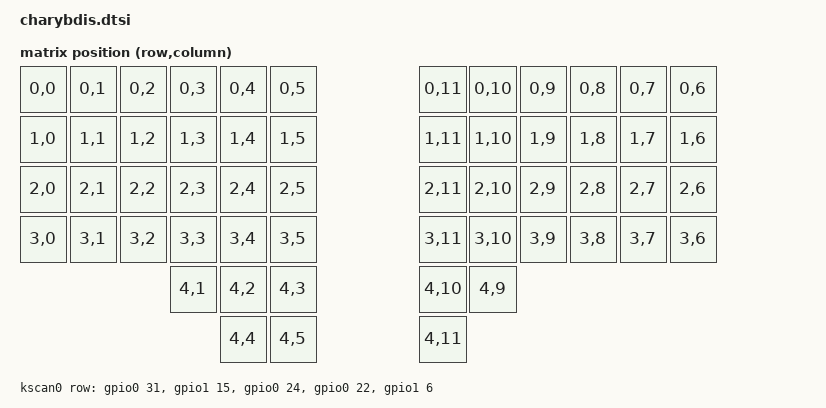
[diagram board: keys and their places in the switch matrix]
#include <dt-bindings/zmk/matrix_transform.h>
#include <dt-bindings/led/led.h>

/ {
    chosen {
        zmk,kscan = &kscan0;
        zmk,matrix_transform = &default_transform;
    };

    default_transform: keymap_transform_0 {
		compatible = "zmk,matrix-transform";
        columns = <12>;
        rows = <5>;

        map = <
			RC(0,0) RC(0,1) RC(0,2) RC(0,3) RC(0,4) RC(0,5)                   RC(0,11) RC(0,10) RC(0,9) RC(0,8) RC(0,7) RC(0,6)
			RC(1,0) RC(1,1) RC(1,2) RC(1,3) RC(1,4) RC(1,5)                   RC(1,11) RC(1,10) RC(1,9) RC(1,8) RC(1,7) RC(1,6)
			RC(2,0) RC(2,1) RC(2,2) RC(2,3) RC(2,4) RC(2,5)                   RC(2,11) RC(2,10) RC(2,9) RC(2,8) RC(2,7) RC(2,6)
			RC(3,0) RC(3,1) RC(3,2) RC(3,3) RC(3,4) RC(3,5)                   RC(3,11) RC(3,10) RC(3,9) RC(3,8) RC(3,7) RC(3,6)
					                RC(4,1) RC(4,2) RC(4,3)                   RC(4,10)  RC(4,9)
									        RC(4,4) RC(4,5)                   RC(4,11) 
        >;
    };
	
    kscan0: kscan {
        compatible = "zmk,kscan-gpio-matrix";
        label = "KSCAN";

        diode-direction = "row2col";
		row-gpios
            = <&gpio0 31 GPIO_ACTIVE_HIGH>
            , <&gpio1 15 GPIO_ACTIVE_HIGH>
            , <&gpio0 24 GPIO_ACTIVE_HIGH>
	        , <&gpio0 22 GPIO_ACTIVE_HIGH>
	        , <&gpio1 6 GPIO_ACTIVE_HIGH>
            ;
    };

	trackballs {
		compatible = "zmk,keymap-trackballs";
		trackballs = <&trackball>;
	};
};

&spi0 {
	compatible = "nordic,nrf-spim";
	status = "disabled";

	trackball: trackball@0 {
		compatible = "pixart,pmw3610";
		status = "disabled";
		reg = <0>;
		label = "TRACKBALL";
		spi-max-frequency = <2000000>;
		duplex = <2048>; // required by 3-wire spi
	};
};



&spi3 {
	compatible = "nordic,nrf-spim";
	status = "okay";
    sck-pin = <21>; //old
    mosi-pin = <7>; //old
    miso-pin = <7>;//old same as mosi (3-wire spi)
	cs-gpios = <&gpio0 23 GPIO_ACTIVE_LOW>;


	led_strip: ws2812@0 {
		compatible = "worldsemi,ws2812-spi";
		label = "WS2812";

		/* SPI */
		reg = <0>; /* ignored, but necessary for SPI bindings */
		spi-max-frequency = <4000000>;

		/* WS2812 */
		chain-length = <29>; /* There are per-key RGB, but the first 6 are underglow */
		spi-one-frame = <0x70>;
		spi-zero-frame = <0x40>;
		color-mapping = <LED_COLOR_ID_GREEN LED_COLOR_ID_RED LED_COLOR_ID_BLUE>;
	};
};

/ {
	chosen {
		zmk,underglow = &led_strip;
	};
};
